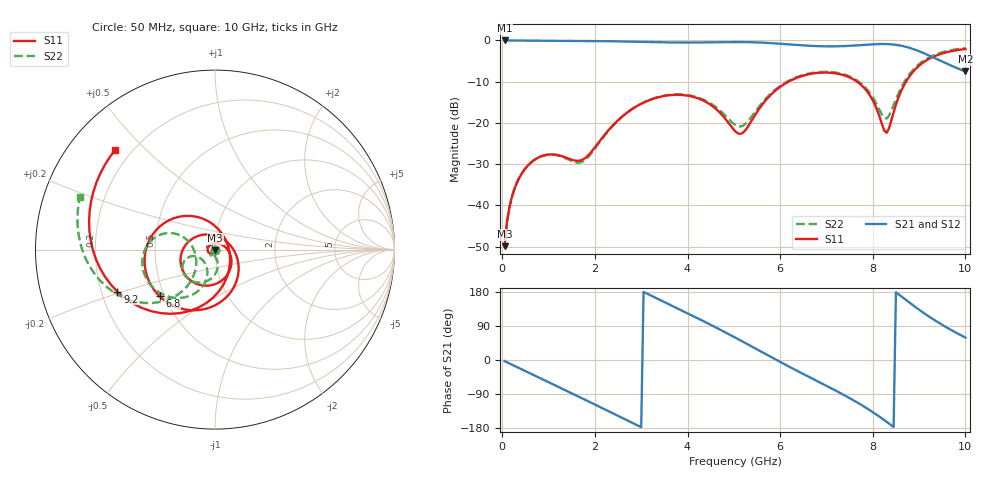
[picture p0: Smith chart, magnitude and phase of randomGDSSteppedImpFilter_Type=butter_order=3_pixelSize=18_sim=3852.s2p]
! freq	dB(S11)	phase(S11)	dB(S12)	phase(S12)
!  dB(S21)	phase(S21)	dB(S22)	phase(S22)
!S-par simulation data
#  GHz  S  DB  R 50
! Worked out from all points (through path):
!   200 points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, 50 MHz to 10 GHz, reference 50 ohm
!   highest |S21| = -0.01 dB at 50 MHz (marker M1); lowest = -7.5 dB at 10 GHz (marker M2)
!   group delay of S21, straight-line fit = 181 ps
!   lowest |S11| = -49.9 dB at 50 MHz (marker M3), VSWR 1.01, Z = 50 - j0.319 ohm
!   |S11| at or under -10 dB: start of sweep to 6.18 GHz; 7.659 GHz to 8.718 GHz (1.059 GHz wide, 12.9 % of centre)
!   |S22| runs from -49.9 to -1.9 dB; largest |S21 - S12| = 0
!   S11 on the Smith chart (normalised r, x): 50 MHz: 1.00, -0.01; 6.8 GHz: 0.47, -0.29; 9.2 GHz: 0.27, -0.19; 10 GHz: 0.14, +0.41
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0.05  -49.91 -85.7  -0.01 -3.0  -0.01 -3.0  -49.91 -83.8
0.2  -38.29 -103.0  -0.02 -11.8  -0.02 -11.8  -38.23 -96.8
0.55  -30.39 -131.7  -0.05 -32.3  -0.05 -32.3  -30.34 -113.3
1.2  -27.82 168.4  -0.09 -70.3  -0.09 -70.3  -27.91 -131.9
1.75  -28.84 75.7  -0.12 -102.7  -0.12 -102.7  -29.31 -102.5
2.65  -17.90 -45.5  -0.26 -156.4  -0.26 -156.4  -17.91 -87.2
3.4  -13.70 -103.4  -0.44 158.9  -0.44 158.9  -13.63 -118.1
4.3  -14.38 -171.2  -0.49 105.2  -0.49 105.2  -14.16 -155.8
5.05  -22.25 85.6  -0.39 57.8  -0.39 57.8  -20.64 -147.1
5.25  -21.78 27.5  -0.41 44.7  -0.41 44.7  -20.24 -122.6
5.85  -12.64 -63.0  -0.68 4.8  -0.68 4.8  -12.36 -111.2
6.7  -8.03 -132.5  -1.33 -49.5  -1.33 -49.5  -7.86 -148.3
6.8  -7.88 -139.9  -1.38 -55.7  -1.38 -55.7  -7.71 -153.1
7.25  -8.09 -173.9  -1.42 -84.0  -1.42 -84.0  -7.89 -174.8
7.65  -9.93 152.3  -1.20 -111.0  -1.20 -111.0  -9.63 166.7
8  -14.52 112.3  -0.94 -137.5  -0.94 -137.5  -13.81 157.8
8.25  -21.90 41.9  -0.87 -158.6  -0.87 -158.6  -18.81 -174.9
8.35  -21.35 -16.0  -0.90 -167.6  -0.90 -167.6  -18.30 -148.9
8.8  -8.59 -112.8  -1.82 150.7  -1.82 150.7  -8.10 -134.0
9.2  -4.55 -156.7  -3.58 115.8  -3.58 115.8  -4.22 -157.6
9.6  -2.85 166.9  -5.65 85.6  -5.65 85.6  -2.58 179.3
10  -2.09 135.0  -7.53 59.2  -7.53 59.2  -1.86 158.9
